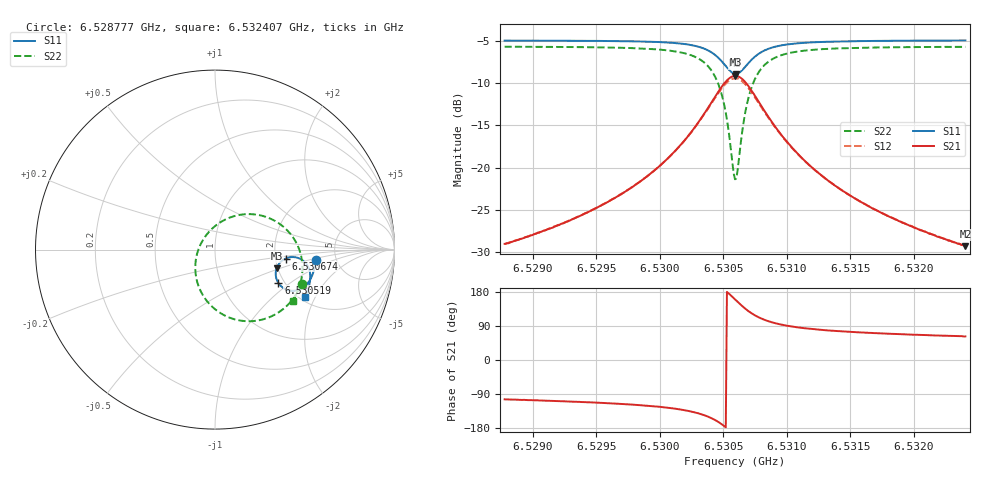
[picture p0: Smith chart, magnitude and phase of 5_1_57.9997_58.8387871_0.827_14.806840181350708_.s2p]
#  HZ  S  RI  R  50.00
! Rohde & Schwarz Vector Network Analyzer
! Rohde-Schwarz,ZNB20-2Port,1311601062101988,3.16
! Created: UTC 3/21/2024, 12:50:26 AM
! freq[Hz]  re:S11  im:S11  re:S21  im:S21  re:S12  im:S12  re:S22  im:S22
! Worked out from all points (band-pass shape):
!   401 points, 6.528777 GHz to 6.532407 GHz, reference 50 ohm
!   highest |S21| = -9.13 dB at 6.530592 GHz (marker M1); lowest = -29.3 dB at 6.532407 GHz (marker M2)
!   |S21| within 3 dB of the highest: 6.530413 GHz to 6.530776 GHz (363.3 kHz wide, 0.00556 % of centre)
!   lowest |S11| = -8.9 dB at 6.530601 GHz (marker M3), VSWR 2.12, Z = 98.6 - j23.5 ohm
!   |S11| at or under -10 dB: nowhere
!   |S22| runs from -21.4 to -5.7 dB; largest |S21 - S12| = 0.015
!   S11 on the Smith chart (normalised r, x): 6.528777 GHz: 3.48, -0.58; 6.530519 GHz: 1.86, -0.82; 6.530674 GHz: 2.27, -0.27; 6.532407 GHz: 2.11, -1.65
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6.5287772e9  0.5614 -0.0568  -0.00842 -0.0345  -0.00914 -0.0342  0.4831 -0.1905
6.5293852e9  0.552 -0.1099  -0.0187 -0.0491  -0.0199 -0.0486  0.4506 -0.2523
6.5297119e9  0.5418 -0.1427  -0.0314 -0.0636  -0.0332 -0.0629  0.4173 -0.2956
6.5299932e9  0.5246 -0.1765  -0.0559 -0.0849  -0.0585 -0.0833  0.362 -0.3446
6.5302019e9  0.4963 -0.2074  -0.1003 -0.1079  -0.1036 -0.1041  0.2726 -0.3873
6.5303652e9  0.4446 -0.2288  -0.1835 -0.1166  -0.1863 -0.1083  0.1198 -0.3911
6.530456e9  0.3927 -0.2203  -0.2653 -0.0837  -0.2635 -0.0717  -0.0151 -0.3186
6.5304923e9  0.3689 -0.2046  -0.3006 -0.0494  -0.2955 -0.0367  -0.0679 -0.2533
6.5305195e9  0.3531 -0.1859  -0.3228 -0.0125  -0.3146 -0.00066  -0.0972 -0.1872
6.5305739e9  0.3383 -0.133  -0.3367 0.0845  -0.3236 0.0913  -0.1002 -0.0245
6.5305921e9  0.3408 -0.1133  -0.3286 0.1189  -0.3148 0.1233  -0.08 0.03
6.5306012e9  0.3435 -0.1037  -0.3219 0.1354  -0.3081 0.1384  -0.0659 0.0557
6.5306193e9  0.352 -0.086  -0.3039 0.1658  -0.2907 0.1663  -0.031 0.1018
6.5306738e9  0.3929 -0.0499  -0.2274 0.2257  -0.2183 0.2217  0.1059 0.1861
6.5307101e9  0.4232 -0.0417  -0.1737 0.2384  -0.1675 0.2338  0.1975 0.1976
6.5307464e9  0.45 -0.043  -0.1277 0.2361  -0.1235 0.2318  0.2748 0.1851
6.5308643e9  0.5025 -0.0724  -0.0384 0.1914  -0.037 0.1894  0.4189 0.0889
6.5309914e9  0.5235 -0.1064  -0.00275 0.1453  -0.00168 0.1445  0.471 -0.00411
6.5312001e9  0.5312 -0.147  0.0144 0.0991  0.0154 0.0988  0.4873 -0.1001
6.5314632e9  0.5283 -0.1824  0.0184 0.0688  0.0194 0.0685  0.4805 -0.1692
6.5318081e9  0.5191 -0.2175  0.0182 0.048  0.019 0.0479  0.4637 -0.2243
6.532407e9  0.4989 -0.2664  0.016 0.0304  0.0166 0.0303  0.4328 -0.2856
